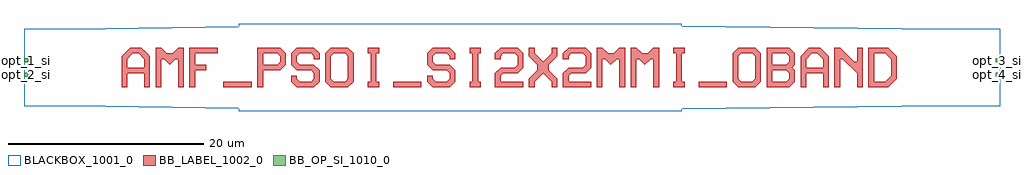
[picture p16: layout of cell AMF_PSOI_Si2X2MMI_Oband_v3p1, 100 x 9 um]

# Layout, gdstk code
import gdstk
lib = gdstk.Library(unit=1e-6, precision=1e-09)
def R(c, l, rs):  # rectangles x0, y0, x1, y1
    for r in rs: c.add(gdstk.rectangle(r[:2], r[2:], *l))
def P(c, l, *ps):  # polygons
    for p in ps: c.add(gdstk.Polygon(p, *l))
BLACKBOX_1001_0 = (1001, 0)
BB_LABEL_1002_0 = (1002, 0)
BB_OP_SI_1010_0 = (1010, 0)

amf_psoi_si2x2mmi_oband_ = lib.new_cell('AMF_PSOI_Si2X2MMI_Oband_v3p1')
P(amf_psoi_si2x2mmi_oband_, BLACKBOX_1001_0, [(22,-4.5),(22,-4.249),(4.948,-3.955),(0,-3.955),(0,3.955),(4.948,3.955),(22,4.249),(22,4.5),(67.4,4.5),(67.4,4.266),(94.4,3.955),(100,3.955),(100,-3.955),(94.4,-3.955),(67.4,-4.266),(67.4,-4.5)])
R(amf_psoi_si2x2mmi_oband_, BB_LABEL_1002_0, [(20.434,-2.029,23.333,-1.449), (37.824,-2.029,40.723,-1.449), (69.126,-2.029,72.025,-1.449)])
P(amf_psoi_si2x2mmi_oband_, BB_LABEL_1002_0, [(10,-2.029),(10,1.159),(10.87,2.029),(12.029,2.029),(12.609,1.449),(11.159,1.449),(10.58,0.87),(10.58,0),(12.319,0),(12.319,0.87),(11.739,1.449),(12.609,1.449),(12.899,1.159),(12.899,-2.029),(12.319,-2.029),(12.319,-0.58),(10.58,-0.58),(10.58,-2.029)],
  [(13.478,-2.029),(13.478,2.029),(14.058,2.029),(14.637,1.449),(15.217,1.449),(15.797,2.029),(16.377,2.029),(16.377,-2.029),(15.797,-2.029),(15.797,0.87),(15.507,0.87),(14.927,0.29),(14.348,0.87),(14.058,0.87),(14.058,-2.029)],
  [(16.956,-2.029),(16.956,2.029),(19.855,2.029),(19.855,1.449),(17.536,1.449),(17.536,0.29),(18.695,0.29),(18.695,-0.29),(17.536,-0.29),(17.536,-2.029)],
  [(23.912,-2.029),(23.912,2.029),(26.231,2.029),(26.811,1.449),(26.811,0.29),(26.231,-0.29),(24.492,-0.29),(24.492,0.29),(25.941,0.29),(26.231,0.58),(26.231,1.159),(25.941,1.449),(24.492,1.449),(24.492,-2.029)],
  [(27.97,-2.029),(27.39,-1.449),(27.39,-0.87),(27.97,-0.87),(27.97,-1.159),(28.26,-1.449),(29.419,-1.449),(29.709,-1.159),(29.709,-0.58),(29.419,-0.29),(27.97,-0.29),(27.39,0.29),(27.39,1.449),(27.97,2.029),(29.709,2.029),(30.289,1.449),(30.289,0.87),(29.709,0.87),(29.709,1.159),(29.419,1.449),(28.26,1.449),(27.97,1.159),(27.97,0.58),(28.26,0.29),(29.709,0.29),(30.289,-0.29),(30.289,-1.449),(29.709,-2.029)],
  [(31.448,-2.029),(30.868,-1.449),(30.868,1.449),(31.448,2.029),(33.187,2.029),(33.767,1.449),(33.767,0),(33.187,0),(33.187,1.159),(32.897,1.449),(31.738,1.449),(31.448,1.159),(31.448,-1.159),(31.738,-1.449),(32.897,-1.449),(33.187,-1.159),(33.187,0),(33.767,0),(33.767,-1.449),(33.187,-2.029)],
  [(35.216,-2.029),(35.216,-1.449),(35.505,-1.449),(35.505,1.449),(35.216,1.449),(35.216,2.029),(36.375,2.029),(36.375,1.449),(36.085,1.449),(36.085,-1.449),(36.375,-1.449),(36.375,-2.029)],
  [(41.882,-2.029),(41.302,-1.449),(41.302,-0.87),(41.882,-0.87),(41.882,-1.159),(42.172,-1.449),(43.331,-1.449),(43.621,-1.159),(43.621,-0.58),(43.331,-0.29),(41.882,-0.29),(41.302,0.29),(41.302,1.449),(41.882,2.029),(43.621,2.029),(44.201,1.449),(44.201,0.87),(43.621,0.87),(43.621,1.159),(43.331,1.449),(42.172,1.449),(41.882,1.159),(41.882,0.58),(42.172,0.29),(43.621,0.29),(44.201,-0.29),(44.201,-1.449),(43.621,-2.029)],
  [(45.65,-2.029),(45.65,-1.449),(45.939,-1.449),(45.939,1.449),(45.65,1.449),(45.65,2.029),(46.809,2.029),(46.809,1.449),(46.519,1.449),(46.519,-1.449),(46.809,-1.449),(46.809,-2.029)],
  [(48.258,-2.029),(48.258,-0.58),(48.838,0),(50.287,0),(50.577,0.29),(50.577,1.159),(50.287,1.449),(49.128,1.449),(48.838,1.159),(48.838,0.87),(48.258,0.87),(48.258,1.449),(48.838,2.029),(50.577,2.029),(51.157,1.449),(51.157,0),(50.577,-0.58),(49.128,-0.58),(48.838,-0.87),(48.838,-1.449),(51.157,-1.449),(51.157,-2.029)],
  [(51.736,-2.029),(51.736,-1.159),(52.606,-0.29),(52.606,0.29),(51.736,1.159),(51.736,2.029),(52.316,2.029),(52.316,1.449),(53.185,0.58),(54.055,1.449),(54.055,2.029),(54.635,2.029),(54.635,1.159),(53.765,0.29),(53.765,-0.29),(54.635,-1.159),(54.635,-2.029),(54.055,-2.029),(54.055,-1.449),(53.185,-0.58),(52.316,-1.449),(52.316,-2.029)],
  [(55.214,-2.029),(55.214,-0.58),(55.794,0),(57.243,0),(57.533,0.29),(57.533,1.159),(57.243,1.449),(56.084,1.449),(55.794,1.159),(55.794,0.87),(55.214,0.87),(55.214,1.449),(55.794,2.029),(57.533,2.029),(58.113,1.449),(58.113,0),(57.533,-0.58),(56.084,-0.58),(55.794,-0.87),(55.794,-1.449),(58.113,-1.449),(58.113,-2.029)],
  [(58.692,-2.029),(58.692,2.029),(59.272,2.029),(59.851,1.449),(60.431,1.449),(61.011,2.029),(61.591,2.029),(61.591,-2.029),(61.011,-2.029),(61.011,0.87),(60.721,0.87),(60.141,0.29),(59.562,0.87),(59.272,0.87),(59.272,-2.029)],
  [(62.17,-2.029),(62.17,2.029),(62.75,2.029),(63.329,1.449),(63.909,1.449),(64.489,2.029),(65.069,2.029),(65.069,-2.029),(64.489,-2.029),(64.489,0.87),(64.199,0.87),(63.619,0.29),(63.04,0.87),(62.75,0.87),(62.75,-2.029)],
  [(66.518,-2.029),(66.518,-1.449),(66.807,-1.449),(66.807,1.449),(66.518,1.449),(66.518,2.029),(67.677,2.029),(67.677,1.449),(67.387,1.449),(67.387,-1.449),(67.677,-1.449),(67.677,-2.029)],
  [(73.184,-2.029),(72.604,-1.449),(72.604,1.449),(73.184,2.029),(74.923,2.029),(75.503,1.449),(75.503,0),(74.923,0),(74.923,1.159),(74.633,1.449),(73.474,1.449),(73.184,1.159),(73.184,-1.159),(73.474,-1.449),(74.633,-1.449),(74.923,-1.159),(74.923,0),(75.503,0),(75.503,-1.449),(74.923,-2.029)],
  [(76.082,-2.029),(76.082,2.029),(78.401,2.029),(78.981,1.449),(76.662,1.449),(76.662,0.29),(78.111,0.29),(78.401,0.58),(78.401,1.159),(78.111,1.449),(78.981,1.449),(78.981,0.29),(78.691,0),(78.981,-0.29),(76.662,-0.29),(76.662,-1.449),(78.111,-1.449),(78.401,-1.159),(78.401,-0.58),(78.111,-0.29),(78.981,-0.29),(78.981,-1.449),(78.401,-2.029)],
  [(79.56,-2.029),(79.56,1.159),(80.43,2.029),(81.589,2.029),(82.169,1.449),(80.719,1.449),(80.14,0.87),(80.14,0),(81.879,0),(81.879,0.87),(81.299,1.449),(82.169,1.449),(82.459,1.159),(82.459,-2.029),(81.879,-2.029),(81.879,-0.58),(80.14,-0.58),(80.14,-2.029)],
  [(83.038,-2.029),(83.038,2.029),(83.618,2.029),(85.067,0.58),(85.357,0.58),(85.357,2.029),(85.937,2.029),(85.937,-2.029),(85.357,-2.029),(85.357,-0.58),(83.908,0.87),(83.618,0.87),(83.618,-2.029)],
  [(86.516,-2.029),(86.516,2.029),(88.545,2.029),(89.125,1.449),(87.096,1.449),(87.096,-1.449),(88.255,-1.449),(88.835,-0.87),(88.835,0.87),(88.255,1.449),(89.125,1.449),(89.415,1.159),(89.415,-1.159),(88.545,-2.029)])
R(amf_psoi_si2x2mmi_oband_, BB_OP_SI_1010_0, [(0,-0.955,0.41,-0.545), (99.59,-0.955,100,-0.545), (0,0.545,0.41,0.955), (99.59,0.545,100,0.955)])
amf_psoi_si2x2mmi_oband_.add(gdstk.Label('opt_3_si', (100,0.75), layer=1010, texttype=0))
amf_psoi_si2x2mmi_oband_.add(gdstk.Label('opt_4_si', (100,-0.75), layer=1010, texttype=0))
amf_psoi_si2x2mmi_oband_.add(gdstk.Label('opt_1_si', (0,0.75), layer=1010, texttype=0))
amf_psoi_si2x2mmi_oband_.add(gdstk.Label('opt_2_si', (0,-0.75), layer=1010, texttype=0))

lib.write_gds('AMF_PSOI_Si2X2MMI_Oband_v3p1.gds')
